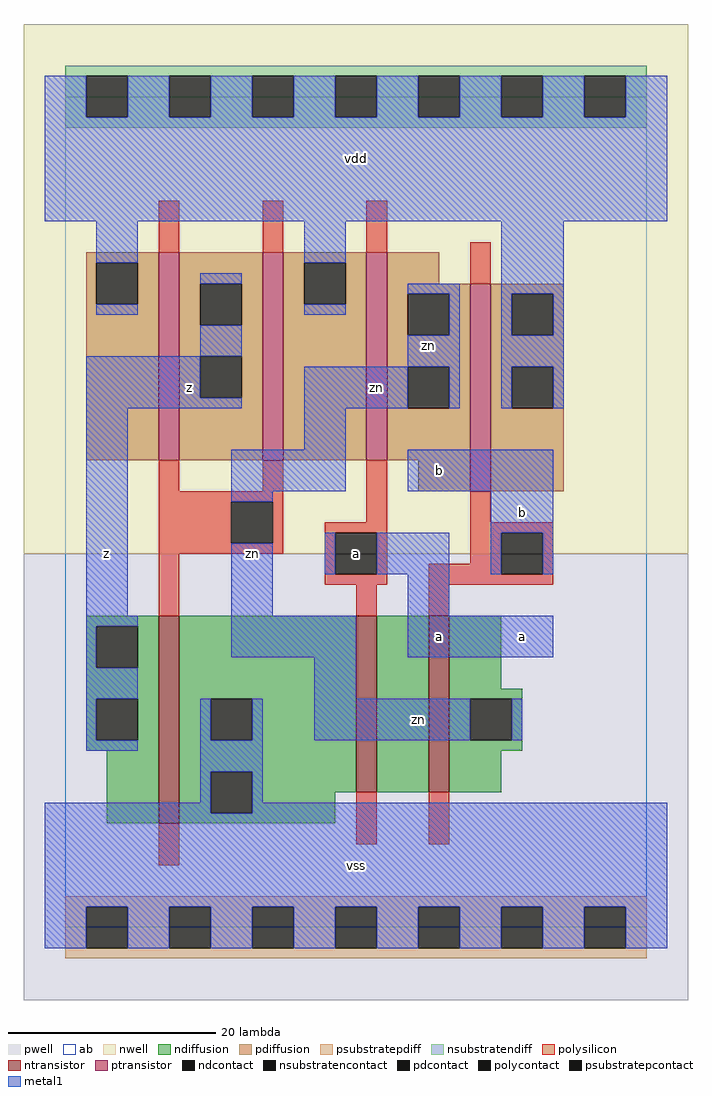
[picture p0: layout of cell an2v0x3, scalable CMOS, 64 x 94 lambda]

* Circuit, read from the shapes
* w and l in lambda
.subckt an2v0x3 a b vdd vss z zn
M1 vss zn z vss nfet w=20 l=2
M2 n1 a vss vss nfet w=17 l=2
M3 zn b n1 vss nfet w=17 l=2
M4 z zn vdd vdd pfet w=20 l=2 m=2
M5 zn a vdd vdd pfet w=20 l=2
M6 vdd b zn vdd pfet w=20 l=2
.ends

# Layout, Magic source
magic
tech scmos
<< ab >>
rect 0 0 56 80
<< pwell >>
rect -4 -7 60 36
<< nwell >>
rect -4 36 60 87
<< polysilicon >>
rect 9 65 11 70
rect 19 65 21 70
rect 29 65 31 70
rect 39 62 41 66
rect 9 42 11 45
rect 19 42 21 45
rect 9 41 21 42
rect 9 37 16 41
rect 20 37 21 41
rect 29 39 31 45
rect 9 36 21 37
rect 25 38 31 39
rect 9 30 11 36
rect 25 34 26 38
rect 30 34 31 38
rect 39 39 41 42
rect 39 38 47 39
rect 39 35 42 38
rect 25 33 31 34
rect 35 34 42 35
rect 46 34 47 38
rect 35 33 47 34
rect 28 30 30 33
rect 35 30 37 33
rect 9 6 11 10
rect 28 8 30 13
rect 35 8 37 13
<< ndiffusion >>
rect 2 29 9 30
rect 2 25 3 29
rect 7 25 9 29
rect 2 22 9 25
rect 2 18 3 22
rect 7 18 9 22
rect 2 17 9 18
rect 4 10 9 17
rect 11 22 28 30
rect 11 18 14 22
rect 18 18 28 22
rect 11 15 28 18
rect 11 11 14 15
rect 18 13 28 15
rect 30 13 35 30
rect 37 23 42 30
rect 37 22 44 23
rect 37 18 39 22
rect 43 18 44 22
rect 37 17 44 18
rect 37 13 42 17
rect 18 11 26 13
rect 11 10 26 11
<< pdiffusion >>
rect 2 64 9 65
rect 2 60 3 64
rect 7 60 9 64
rect 2 45 9 60
rect 11 62 19 65
rect 11 58 13 62
rect 17 58 19 62
rect 11 55 19 58
rect 11 51 13 55
rect 17 51 19 55
rect 11 45 19 51
rect 21 64 29 65
rect 21 60 23 64
rect 27 60 29 64
rect 21 45 29 60
rect 31 62 36 65
rect 31 61 39 62
rect 31 57 33 61
rect 37 57 39 61
rect 31 54 39 57
rect 31 50 33 54
rect 37 50 39 54
rect 31 45 39 50
rect 34 42 39 45
rect 41 61 48 62
rect 41 57 43 61
rect 47 57 48 61
rect 41 54 48 57
rect 41 50 43 54
rect 47 50 48 54
rect 41 42 48 50
<< metal1 >>
rect -2 78 2 82
rect 6 78 10 82
rect 14 78 18 82
rect 22 78 26 82
rect 30 78 34 82
rect 38 78 42 82
rect 46 78 50 82
rect 54 78 58 82
rect -2 68 58 78
rect 3 64 7 68
rect 23 64 27 68
rect 3 59 7 60
rect 13 62 17 63
rect 23 59 27 60
rect 33 61 38 62
rect 13 55 17 58
rect 2 51 13 55
rect 37 57 38 61
rect 33 54 38 57
rect 2 50 17 51
rect 23 50 33 54
rect 37 50 38 54
rect 42 61 48 68
rect 42 57 43 61
rect 47 57 48 61
rect 42 54 48 57
rect 42 50 43 54
rect 47 50 48 54
rect 2 30 6 50
rect 23 46 27 50
rect 16 42 27 46
rect 33 42 47 46
rect 16 41 20 42
rect 41 38 47 42
rect 16 30 20 37
rect 25 34 26 38
rect 30 34 37 38
rect 41 34 42 38
rect 46 34 47 38
rect 33 30 37 34
rect 2 29 7 30
rect 2 25 3 29
rect 16 26 28 30
rect 33 26 47 30
rect 2 22 7 25
rect 24 22 28 26
rect 2 18 3 22
rect 2 17 7 18
rect 13 18 14 22
rect 18 18 19 22
rect 24 18 39 22
rect 43 18 44 22
rect 13 15 19 18
rect 13 12 14 15
rect -2 11 14 12
rect 18 12 19 15
rect 18 11 58 12
rect -2 2 58 11
rect -2 -2 2 2
rect 6 -2 10 2
rect 14 -2 18 2
rect 22 -2 26 2
rect 30 -2 34 2
rect 38 -2 42 2
rect 46 -2 50 2
rect 54 -2 58 2
<< ntransistor >>
rect 9 10 11 30
rect 28 13 30 30
rect 35 13 37 30
<< ptransistor >>
rect 9 45 11 65
rect 19 45 21 65
rect 29 45 31 65
rect 39 42 41 62
<< polycontact >>
rect 16 37 20 41
rect 26 34 30 38
rect 42 34 46 38
<< ndcontact >>
rect 3 25 7 29
rect 3 18 7 22
rect 14 18 18 22
rect 14 11 18 15
rect 39 18 43 22
<< pdcontact >>
rect 3 60 7 64
rect 13 58 17 62
rect 13 51 17 55
rect 23 60 27 64
rect 33 57 37 61
rect 33 50 37 54
rect 43 57 47 61
rect 43 50 47 54
<< psubstratepcontact >>
rect 2 -2 6 2
rect 10 -2 14 2
rect 18 -2 22 2
rect 26 -2 30 2
rect 34 -2 38 2
rect 42 -2 46 2
rect 50 -2 54 2
<< nsubstratencontact >>
rect 2 78 6 82
rect 10 78 14 82
rect 18 78 22 82
rect 26 78 30 82
rect 34 78 38 82
rect 42 78 46 82
rect 50 78 54 82
<< psubstratepdiff >>
rect 0 2 56 3
rect 0 -2 2 2
rect 6 -2 10 2
rect 14 -2 18 2
rect 22 -2 26 2
rect 30 -2 34 2
rect 38 -2 42 2
rect 46 -2 50 2
rect 54 -2 56 2
rect 0 -3 56 -2
<< nsubstratendiff >>
rect 0 82 56 83
rect 0 78 2 82
rect 6 78 10 82
rect 14 78 18 82
rect 22 78 26 82
rect 30 78 34 82
rect 38 78 42 82
rect 46 78 50 82
rect 54 78 56 82
rect 0 77 56 78
<< labels >>
rlabel metal1 4 36 4 36 6 z
rlabel metal1 18 36 18 36 6 zn
rlabel metal1 12 52 12 52 6 z
rlabel metal1 28 6 28 6 6 vss
rlabel polycontact 28 36 28 36 6 a
rlabel metal1 36 28 36 28 6 a
rlabel metal1 36 44 36 44 6 b
rlabel metal1 30 52 30 52 6 zn
rlabel metal1 35 56 35 56 6 zn
rlabel metal1 28 74 28 74 6 vdd
rlabel metal1 34 20 34 20 6 zn
rlabel metal1 44 28 44 28 6 a
rlabel metal1 44 40 44 40 6 b
<< end >>
